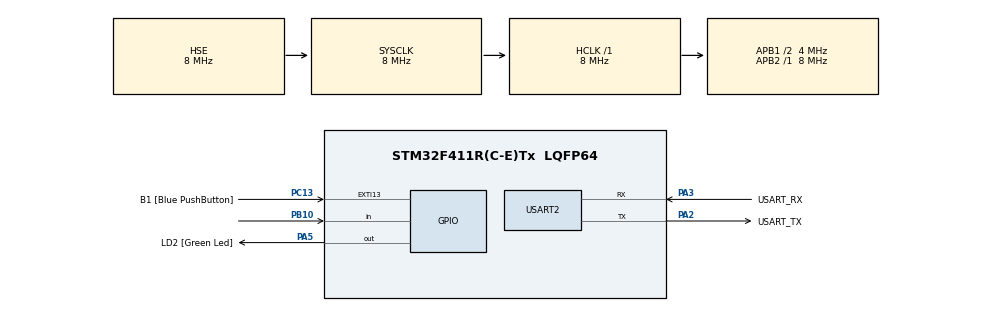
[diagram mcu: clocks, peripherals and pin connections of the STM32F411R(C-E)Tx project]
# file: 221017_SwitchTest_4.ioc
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Mcu.Family=STM32F4
Mcu.Name=STM32F411R(C-E)Tx
Mcu.Package=LQFP64
NVIC.PriorityGroup=NVIC_PRIORITYGROUP_0
PA13.GPIO_Label=TMS
PA13.Mode=Serial_Wire
PA13.Signal=SYS_JTMS-SWDIO
PA14.GPIO_Label=TCK
PA14.Mode=Serial_Wire
PA14.Signal=SYS_JTCK-SWCLK
PA2.GPIO_Label=USART_TX
PA2.Mode=Asynchronous
PA2.Signal=USART2_TX
PA3.GPIO_Label=USART_RX
PA3.Mode=Asynchronous
PA3.Signal=USART2_RX
PA5.GPIO_Label=LD2 [Green Led]
PA5.GPIO_ModeDefaultOutputPP=GPIO_MODE_OUTPUT_PP
PA5.GPIO_PuPd=GPIO_NOPULL
PA5.Signal=GPIO_Output
PB10.GPIO_PuPd=GPIO_PULLUP
PB10.Signal=GPIO_Input
PB3.GPIO_Label=SWO
PB3.Signal=SYS_JTDO-SWO
PC13-ANTI_TAMP.GPIO_Label=B1 [Blue PushButton]
PC13-ANTI_TAMP.GPIO_ModeDefaultEXTI=GPIO_MODE_IT_FALLING
PC13-ANTI_TAMP.GPIO_PuPd=GPIO_PULLUP
PC13-ANTI_TAMP.Signal=GPXTI13
PC14-OSC32_IN.Mode=LSE-External-Oscillator
PC14-OSC32_IN.Signal=RCC_OSC32_IN
PC15-OSC32_OUT.Mode=LSE-External-Oscillator
PC15-OSC32_OUT.Signal=RCC_OSC32_OUT
PH0\ -\ OSC_IN.Mode=HSE-External-Clock-Source
PH0\ -\ OSC_IN.Signal=RCC_OSC_IN
PH1\ -\ OSC_OUT.Mode=HSE-External-Clock-Source
PH1\ -\ OSC_OUT.Signal=RCC_OSC_OUT
ProjectManager.HeapSize=0x200
ProjectManager.StackSize=0x400
ProjectManager.TargetToolchain=STM32CubeIDE
RCC.48MHZClocksFreq_Value=32000000
RCC.AHBFreq_Value=8000000
RCC.APB1CLKDivider=RCC_HCLK_DIV2
RCC.APB1Freq_Value=4000000
RCC.APB1TimFreq_Value=8000000
RCC.APB2Freq_Value=8000000
RCC.APB2TimFreq_Value=8000000
RCC.CortexFreq_Value=8000000
RCC.FLatency-AdvancedSettings=FLASH_LATENCY_0
RCC.HCLKFreq_Value=8000000
RCC.HSE_VALUE=8000000
RCC.HSI_VALUE=16000000
RCC.PLLM=8
RCC.PLLN=64
RCC.SYSCLKFreq_VALUE=8000000
RCC.SYSCLKSource=RCC_SYSCLKSOURCE_HSE
RCC.VCOOutputFreq_Value=128000000
USART2.VirtualMode=VM_ASYNC
board=NUCLEO-F411RE

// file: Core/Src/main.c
/* USER CODE BEGIN Header */
/**
 ******************************************************************************
 * @file           : main.c
 * @brief          : Main program body
 ******************************************************************************
 * @attention
 *
 * Copyright (c) 2022 STMicroelectronics.
 * All rights reserved.
 *
 * This software is licensed under terms that can be found in the LICENSE file
 * in the root directory of this software component.
 * If no LICENSE file comes with this software, it is provided AS-IS.
 *
 ******************************************************************************
 */
/* USER CODE END Header */
#include "main.h"

/* USER CODE BEGIN Includes */
#include <stdio.h>
#include <string.h>
#include <stdbool.h>

/* USER CODE END Includes */

UART_HandleTypeDef huart2;

void SystemClock_Config(void);
static void MX_GPIO_Init(void);
static void MX_USART2_UART_Init(void);

/* USER CODE BEGIN 0 */
#define long_key 2
#define short_key 3
/* USER CODE END 0 */

int main(void)
{
  /* USER CODE BEGIN 1 */
	//int current = 0; //LED init Status...(LED OFF)
  /* USER CODE END 1 */

  /* MCU Configuration--------------------------------------------------------*/

  /* Reset of all peripherals, Initializes the Flash interface and the Systick. */
  HAL_Init();

  /* Configure the system clock */
  SystemClock_Config();

  /* Initialize all configured peripherals */
  MX_GPIO_Init();
  MX_USART2_UART_Init();
  /* USER CODE BEGIN 2 */

	int check_first = 1;
	//int check_after = 0;

	uint64_t delay_key_count = 0, led_toggle_count = 0;
	int temp_state = 1;

	int key_state = 0;

	//int counting = 0;

  /* USER CODE END 2 */

  /* Infinite loop */
  /* USER CODE BEGIN WHILE */

	while (1) {

		check_first = HAL_GPIO_ReadPin(GPIOC, GPIO_PIN_13);

		if (check_first == 0) {
			delay_key_count++;
		} else if (temp_state == 0 && check_first == 1) {
			if (delay_key_count > 32000) {
				key_state = long_key;
			} else {
				key_state = short_key;
			}
			delay_key_count = 0;
		}
		led_toggle_count++;
		if (key_state == long_key) {
			if (led_toggle_count > 50000){
				HAL_GPIO_TogglePin(GPIOA, GPIO_PIN_5);
			led_toggle_count = 0;
			}
		} else if (key_state == short_key) {
			if (led_toggle_count > 15000){
				HAL_GPIO_TogglePin(GPIOA, GPIO_PIN_5);
			led_toggle_count = 0;
			}
		}
		temp_state = check_first;
    /* USER CODE END WHILE */

	}
}

void SystemClock_Config(void)
{
  RCC_OscInitTypeDef RCC_OscInitStruct = {0};
  RCC_ClkInitTypeDef RCC_ClkInitStruct = {0};

  /** Configure the main internal regulator output voltage
  */
  __HAL_RCC_PWR_CLK_ENABLE();
  __HAL_PWR_VOLTAGESCALING_CONFIG(PWR_REGULATOR_VOLTAGE_SCALE1);

  /** Initializes the RCC Oscillators according to the specified parameters
  * in the RCC_OscInitTypeDef structure.
  */
  RCC_OscInitStruct.OscillatorType = RCC_OSCILLATORTYPE_HSE;
  RCC_OscInitStruct.HSEState = RCC_HSE_BYPASS;
  RCC_OscInitStruct.PLL.PLLState = RCC_PLL_NONE;
  if (HAL_RCC_OscConfig(&RCC_OscInitStruct) != HAL_OK)
  {
    Error_Handler();
  }

  /** Initializes the CPU, AHB and APB buses clocks
  */
  RCC_ClkInitStruct.ClockType = RCC_CLOCKTYPE_HCLK|RCC_CLOCKTYPE_SYSCLK
                              |RCC_CLOCKTYPE_PCLK1|RCC_CLOCKTYPE_PCLK2;
  RCC_ClkInitStruct.SYSCLKSource = RCC_SYSCLKSOURCE_HSE;
  RCC_ClkInitStruct.AHBCLKDivider = RCC_SYSCLK_DIV1;
  RCC_ClkInitStruct.APB1CLKDivider = RCC_HCLK_DIV2;
  RCC_ClkInitStruct.APB2CLKDivider = RCC_HCLK_DIV1;

  if (HAL_RCC_ClockConfig(&RCC_ClkInitStruct, FLASH_LATENCY_0) != HAL_OK)
  {
    Error_Handler();
  }
}

static void MX_USART2_UART_Init(void)
{

  huart2.Instance = USART2;
  huart2.Init.BaudRate = 115200;
  huart2.Init.WordLength = UART_WORDLENGTH_8B;
  huart2.Init.StopBits = UART_STOPBITS_1;
  huart2.Init.Parity = UART_PARITY_NONE;
  huart2.Init.Mode = UART_MODE_TX_RX;
  huart2.Init.HwFlowCtl = UART_HWCONTROL_NONE;
  huart2.Init.OverSampling = UART_OVERSAMPLING_16;
  if (HAL_UART_Init(&huart2) != HAL_OK)
  {
    Error_Handler();
  }

}

static void MX_GPIO_Init(void)
{
  GPIO_InitTypeDef GPIO_InitStruct = {0};

  /* GPIO Ports Clock Enable */
  __HAL_RCC_GPIOC_CLK_ENABLE();
  __HAL_RCC_GPIOH_CLK_ENABLE();
  __HAL_RCC_GPIOA_CLK_ENABLE();
  __HAL_RCC_GPIOB_CLK_ENABLE();

  /*Configure GPIO pin Output Level */
  HAL_GPIO_WritePin(LD2_GPIO_Port, LD2_Pin, GPIO_PIN_RESET);

  /*Configure GPIO pin : B1_Pin */
  GPIO_InitStruct.Pin = B1_Pin;
  GPIO_InitStruct.Mode = GPIO_MODE_IT_FALLING;
  GPIO_InitStruct.Pull = GPIO_PULLUP;
  HAL_GPIO_Init(B1_GPIO_Port, &GPIO_InitStruct);

  /*Configure GPIO pin : LD2_Pin */
  GPIO_InitStruct.Pin = LD2_Pin;
  GPIO_InitStruct.Mode = GPIO_MODE_OUTPUT_PP;
  GPIO_InitStruct.Pull = GPIO_NOPULL;
  GPIO_InitStruct.Speed = GPIO_SPEED_FREQ_LOW;
  HAL_GPIO_Init(LD2_GPIO_Port, &GPIO_InitStruct);

  /*Configure GPIO pin : PB10 */
  GPIO_InitStruct.Pin = GPIO_PIN_10;
  GPIO_InitStruct.Mode = GPIO_MODE_INPUT;
  GPIO_InitStruct.Pull = GPIO_PULLUP;
  HAL_GPIO_Init(GPIOB, &GPIO_InitStruct);

}

void Error_Handler(void)
{
	__disable_irq();
	while (1) {
	}
}
